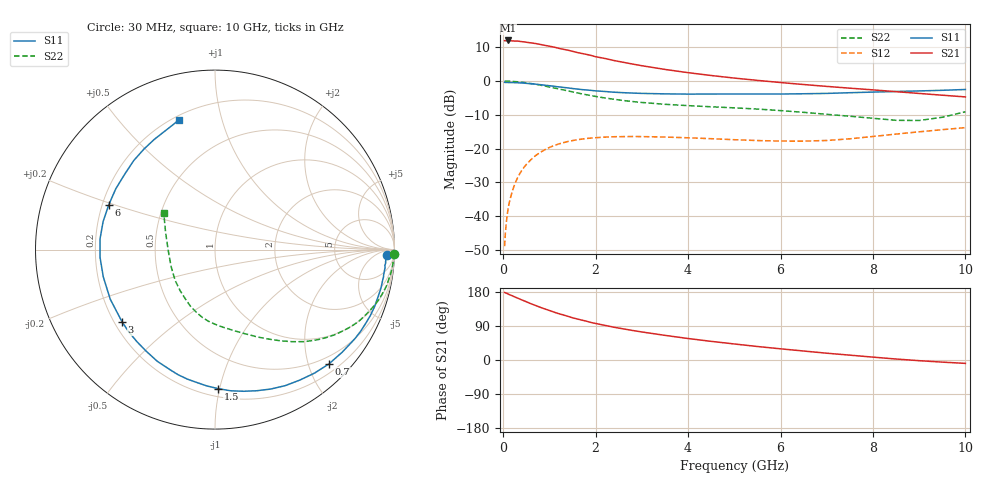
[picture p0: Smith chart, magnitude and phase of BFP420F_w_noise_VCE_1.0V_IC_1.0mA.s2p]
! Infineon Technologies  Discrete & RF Semiconductors
! BFP420F
! VCE =  1.0 V,  IC =  1.0 mA
! Common Emitter S-Parameters:  Sep 2011
# GHz  S  MA  R  50
!  f  S11  S21  S12  S22
! GHz  MAG  ANG  MAG  ANG  MAG  ANG  MAG  ANG
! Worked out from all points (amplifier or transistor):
!   54 points, 30 MHz to 10 GHz, reference 50 ohm
!   highest |S21| = 12.0 dB at 100 MHz (marker M1)
!   |S21| within 3 dB of that: start of sweep to 1.436 GHz
!   unconditionally stable (mu >= 1): 3.576 GHz to end of sweep
!   at 120 MHz: K = 0.01, MSG = 24.4 dB, |S12| = -36.7 dB
!   at 1.3 GHz: K = 0.25, MSG = 13.8 dB, |S12| = -18.2 dB
!   at 10 GHz: K = 1.81, MAG = -0.6 dB, |S12| = -13.8 dB
!   lowest NFmin = 0.80 dB at 450 MHz
!   S11 on the Smith chart (normalised r, x): 30 MHz: 29, -22; 700 MHz: 0.36, -2.36; 1.5 GHz: 0.26, -0.99; 3 GHz: 0.23, -0.33; 6 GHz: 0.23, +0.19; 10 GHz: 0.22, +0.74
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0.03  0.9569 -1.9  3.957 178.2  0.0036 87.5  0.9971 -1.3
0.05  0.954 -3.3  3.938 176.7  0.006 88.1  0.9967 -2.0
0.1  0.9522 -6.6  3.985 174.4  0.0122 86.5  0.9947 -4.0
0.2  0.9493 -13.2  3.924 169.3  0.0239 82.8  0.9875 -8.0
0.3  0.944 -19.8  3.903 163.9  0.0358 78.9  0.9762 -12.0
0.5  0.9239 -32.6  3.749 153.7  0.0583 71.1  0.941 -19.3
0.7  0.8992 -45.1  3.589 143.9  0.0788 63.6  0.8961 -26.4
0.9  0.8673 -56.9  3.374 134.8  0.0962 56.5  0.8432 -32.6
1.1  0.8367 -68.2  3.177 126.3  0.111 49.9  0.7896 -38.4
1.5  0.7747 -88.7  2.753 111.4  0.1315 38.9  0.6903 -48.0
1.7  0.7476 -97.7  2.559 105.3  0.1382 34.3  0.6459 -52.2
2  0.7152 -110.3  2.289 96.4  0.145 28.3  0.5914 -57.9
2.4  0.6832 -124.3  2.009 86.4  0.1499 21.8  0.5368 -64.7
3  0.656 -142.1  1.685 74.0  0.1506 14.8  0.4817 -73.2
3.5  0.6457 -154.7  1.485 65.0  0.1482 10.9  0.4526 -79.3
4.5  0.6419 -176.1  1.207 49.2  0.1402 6.6  0.4158 -90.0
5.5  0.6427 165.9  1.023 35.6  0.1316 7.3  0.3847 -100.5
6  0.6422 157.3  0.95 29.5  0.1293 9.3  0.3653 -106.3
7  0.6558 139.9  0.833 17.9  0.1319 15.6  0.3217 -120.6
8.5  0.7009 118.9  0.696 2.6  0.164 21.4  0.2622 -158.8
9  0.7138 113.9  0.655 -1.8  0.1773 21.1  0.2606 -178.8
10  0.7497 105.5  0.582 -8.9  0.2043 18.7  0.3507 144.5
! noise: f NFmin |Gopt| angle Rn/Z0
0.45  0.8  0.67  17  0.46
0.9  0.92  0.64  37  0.43
1.9  1.38  0.51  82  0.32
2.4  1.57  0.51  97  0.3
3.5  2.11  0.52  131  0.19
